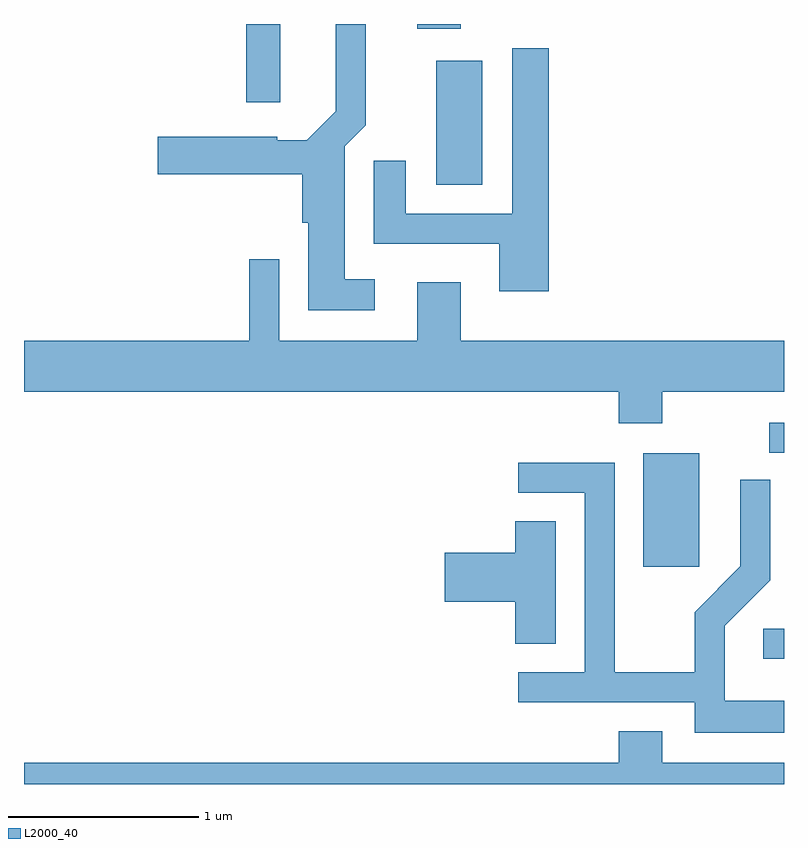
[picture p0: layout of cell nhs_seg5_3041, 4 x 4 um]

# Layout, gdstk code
import gdstk
lib = gdstk.Library(unit=1e-6, precision=1e-09)
def R(c, l, rs):  # rectangles x0, y0, x1, y1
    for r in rs: c.add(gdstk.rectangle(r[:2], r[2:], *l))
def P(c, l, *ps):  # polygons
    for p in ps: c.add(gdstk.Polygon(p, *l))
L2000_40 = (2000, 40)

nhs_seg5_3041 = lib.new_cell('nhs_seg5_3041')
R(nhs_seg5_3041, L2000_40, [(279.503,1448.731,279.611,1448.889), (278.871,1449.216,279.164,1449.814), (279.533,1449.816,279.611,1449.974), (277.781,1451.226,278.024,1451.879), (276.781,1451.661,276.959,1452.072), (277.681,1452.046,277.909,1452.072)])
P(nhs_seg5_3041, L2000_40, [(277.458,1450.729),(277.299,1450.729),(277.299,1451.429),(277.409,1451.539),(277.409,1452.072),(277.251,1452.072),(277.251,1451.612),(277.099,1451.459),(276.944,1451.459),(276.944,1451.479),(276.316,1451.479),(276.316,1451.281),(277.076,1451.281),(277.076,1451.026),(277.106,1451.026),(277.106,1450.566),(277.458,1450.566)],
  [(278.374,1451.944),(278.181,1451.944),(278.181,1451.074),(277.619,1451.074),(277.619,1451.353),(277.451,1451.353),(277.451,1450.916),(278.111,1450.916),(278.111,1450.666),(278.374,1450.666)],
  [(278.969,1450.136),(279.611,1450.136),(279.611,1450.404),(277.909,1450.404),(277.909,1450.714),(277.681,1450.714),(277.681,1450.404),(276.954,1450.404),(276.954,1450.833),(276.796,1450.833),(276.796,1450.404),(275.611,1450.404),(275.611,1450.136),(278.741,1450.136),(278.741,1449.971),(278.969,1449.971)],
  [(279.611,1448.509),(279.299,1448.509),(279.299,1448.904),(279.539,1449.144),(279.539,1449.673),(279.381,1449.673),(279.381,1449.217),(279.141,1448.977),(279.141,1448.659),(278.719,1448.659),(278.719,1449.764),(278.213,1449.764),(278.213,1449.606),(278.561,1449.606),(278.561,1448.659),(278.213,1448.659),(278.213,1448.501),(279.141,1448.501),(279.141,1448.341),(279.611,1448.341)],
  [(278.409,1449.454),(278.196,1449.454),(278.196,1449.289),(277.826,1449.289),(277.826,1449.031),(278.196,1449.031),(278.196,1448.811),(278.409,1448.811)],
  [(279.611,1448.184),(278.969,1448.184),(278.969,1448.349),(278.741,1448.349),(278.741,1448.184),(275.611,1448.184),(275.611,1448.072),(279.611,1448.072)])

lib.write_gds('nhs_seg5_3041.gds')
